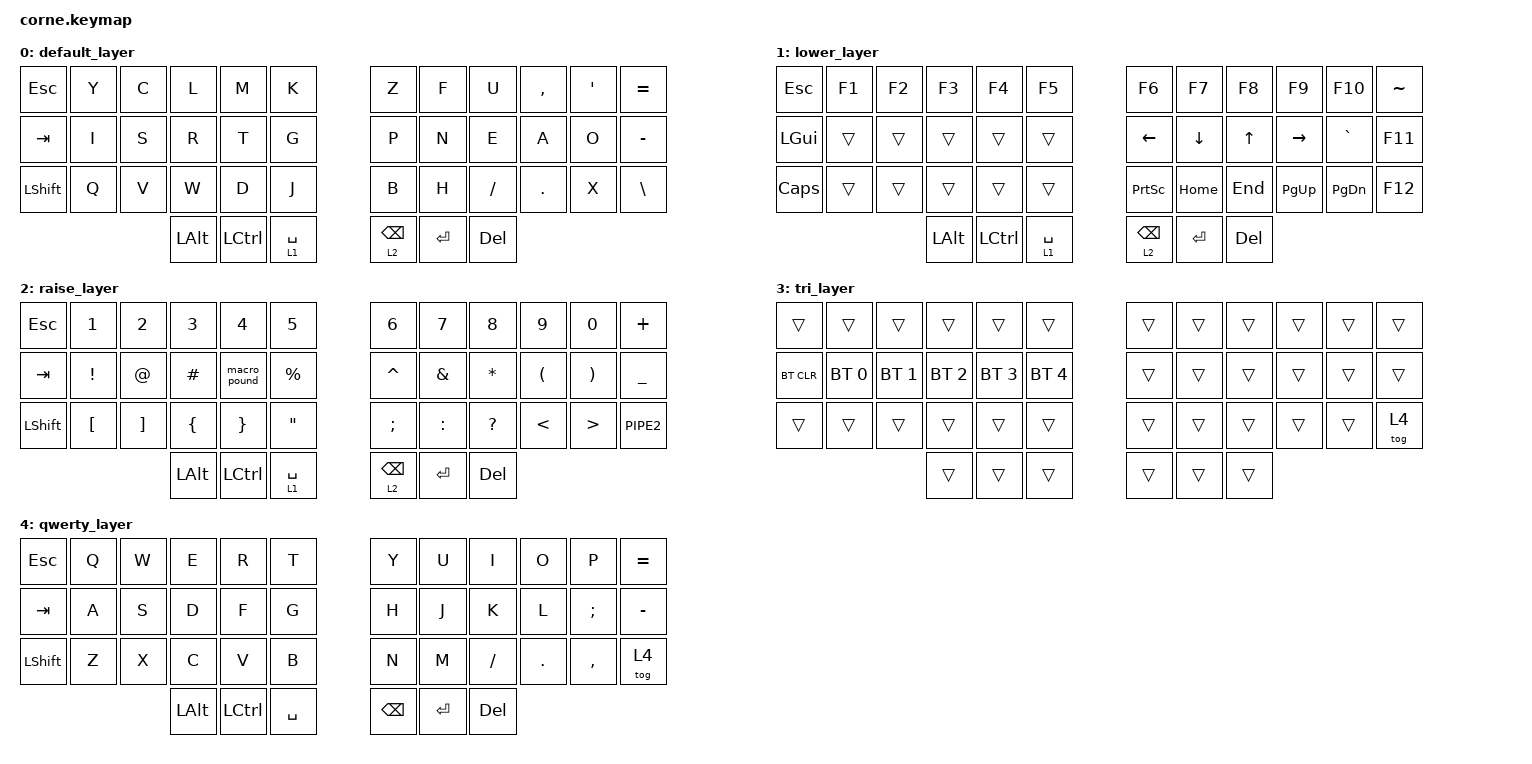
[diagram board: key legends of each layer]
/*
 * Copyright (c) 2020 The ZMK Contributors
 *
 * SPDX-License-Identifier: MIT
 */

#include <behaviors.dtsi>
#include <dt-bindings/zmk/keys.h>
#include <dt-bindings/zmk/bt.h>

/ {
        conditional_layers {
                compatible = "zmk,conditional-layers";
                tri_layer {
                        if-layers = <1 2>;
                        then-layer = <3>;
                };
        };



        keymap {
                compatible = "zmk,keymap";

                default_layer {
// -----------------------------------------------------------------------------------------
// | ESC  |  Y  |  C  |  L  |  M  |  K  |   |  Z  |  F   |  U  |  ,  |  '  |  =  |
// | TAB  |  I  |  S  |  R  |  T  |  G  |   |  P  |  N   |  E  |  A  |  O  |  -  |
// | SHFT |  Q  |  V  |  W  |  D  |  J  |   |  B  |  H   |  /  |  .  |  X  |  \  |
//                    | ALT | CTRL | SPC |   | BKSP | ENT | DEL |
                        bindings = <
   &kp ESC   &kp Y &kp C &kp L &kp M &kp K   &kp Z &kp F  &kp U     &kp COMMA &kp SQT  &kp EQUAL
   &kp TAB   &kp I &kp S &kp R &kp T &kp G   &kp P &kp N  &kp E     &kp A     &kp O    &kp MINUS
   &kp LSHFT &kp Q &kp V &kp W &kp D &kp J   &kp B &kp H  &kp FSLH  &kp DOT   &kp X    &kp BSLH
                   &kp LALT &kp LCTRL &lt 1 SPACE   &lt 2 BSPC &kp RET &kp DEL
                        >;
                };
                lower_layer {
// -----------------------------------------------------------------------------------------
// | ESC  |  F1  |  F2  |  F3  |  F4  |  F5  |   |  F6  |  F7  |  F8  |  F9  |  F10  |   ~   |
// | GUI  |      |      |      |      |      |   |  LFT |  DWN |  UP  |  RGT |   `   |  F11  |
// | CAPS |      |      |      |      |      |   | PSCR | HOME |  END | PGUP | PGDN  |  F12  |
//                      |  ALT | CTRL |  SPC |   | BKSP |  ENT |  DEL |
                        bindings = <
   &kp ESC   &kp F1 &kp F2 &kp F3 &kp F4 &kp F5   &kp F6 &kp F7 &kp F8 &kp F9 &kp F10   &kp TILDE
   &kp LGUI  &trans &trans &trans &trans &trans   &kp LEFT &kp DOWN &kp UP &kp RIGHT &kp GRAVE  &kp F11
   &kp CAPS  &trans &trans &trans &trans &trans   &kp PSCRN &kp HOME &kp END &kp PG_UP &kp PG_DN  &kp F12
                      &kp LALT  &kp LCTRL &lt 1 SPACE   &lt 2 BSPC &kp RET &kp DEL
                        >;
                };
                raise_layer {
// -----------------------------------------------------------------------------------------
// | ESC  |  1  |  2  |  3  |  4  |  5  |   |  6  |  7  |  8  |  9  |  0  |  +  |
// | TAB  |  !  |  @  |  #  |    |  %  |   |  ^  |  &  |  *  |  (  |  )  |  _  |
// | SHFT |  [  |  ]  |  {  |  }  |  "  |   |  ;  |  :  |  ?  |  <  |  >  | "|" |
//                    | ALT | CTRL | SPC |   | BKSP | ENT | DEL |
                        bindings = <
   &kp ESC    &kp N1 &kp N2 &kp N3 &kp N4 &kp N5   &kp N6 &kp N7 &kp N8 &kp N9 &kp N0   &kp PLUS
   &kp TAB    &kp EXCL &kp AT &kp HASH &macro_pound &kp PRCNT   &kp CARET &kp AMPS &kp ASTRK &kp LPAR &kp RPAR   &kp UNDER
   &kp LSHFT  &kp LBKT &kp RBKT &kp LBRC &kp RBRC &kp DQT   &kp SEMI &kp COLON &kp QMARK &kp LT &kp GT   &kp PIPE2
                   &kp LALT &kp LCTRL &lt 1 SPACE   &lt 2 BSPC &kp RET &kp DEL
                        >;
                };
                tri_layer {
// -----------------------------------------------------------------------------------------
// |      |     |     |     |     |     |   |     |     |     |     |     |                     |
// | BTCLR| BT1 | BT2 | BT3 | BT4 | BT5 |   |     |     |     |     |     |                     |
// |      |     |     |     |     |     |   |     |     |     |     |     | TOGGLE_QWERTY_LAYER |
//                    |     |     |     |   |     |     |     |
                        bindings = <
   &trans   &trans &trans &trans &trans &trans    &trans &trans &trans &trans &trans   &trans
   &bt BT_CLR   &bt BT_SEL 0 &bt BT_SEL 1 &bt BT_SEL 2 &bt BT_SEL 3 &bt BT_SEL 4   &trans &trans &trans &trans &trans &trans
   &trans   &trans &trans &trans &trans &trans    &trans &trans &trans &trans &trans   &tog 4
                                &trans &trans &trans    &trans &trans &trans
                        >;
                };
                qwerty_layer {
// -----------------------------------------------------------------------------------------
// |  ESC  |  Q  |  W  |  E  |  R  |  T  |   |  Y   |  U   |  I  |  O  |  P  |  =  |
// |  TAB  |  A  |  S  |  D  |  F  |  G  |   |  H   |  J   |  K  |  L  |  ;  |  -  |
// |  SHFT |  Z  |  X  |  C  |  V  |  B  |   |  N   |  M   |  /  |  .  |  ,  | TOGGLE_QWERTY_LAYER |
//                     | ALT | CTRL | SPC |   | BKSP | ENT | DEL |
                        bindings = <
   &kp ESC    &kp Q &kp W &kp E &kp R &kp T    &kp Y &kp U &kp I &kp O &kp P   &kp EQUAL
   &kp TAB    &kp A &kp S &kp D &kp F &kp G    &kp H &kp J &kp K &kp L &kp SEMI   &kp MINUS
   &kp LSHFT  &kp Z &kp X &kp C &kp V &kp B    &kp N &kp M &kp FSLH &kp DOT &kp COMMA   &tog 4
                        &kp LALT &kp LCTRL &kp SPACE   &kp BSPC &kp RET &kp DEL
                        >;
                };
        };

        macros {
        macro_pound: macro_pound {
            compatible = "zmk,behavior-macro";
            #binding-cells = <0>;
            label = "Pound Symbol Macro";
            wait-ms = <40>;
            tap-ms = <40>;
            bindings = <
                &macro_press   &kp LALT
                &macro_tap     &kp KP_N0 &kp KP_N1 &kp KP_N6 &kp KP_N3
                &macro_release &kp LALT
            >;
        };
    };
};
